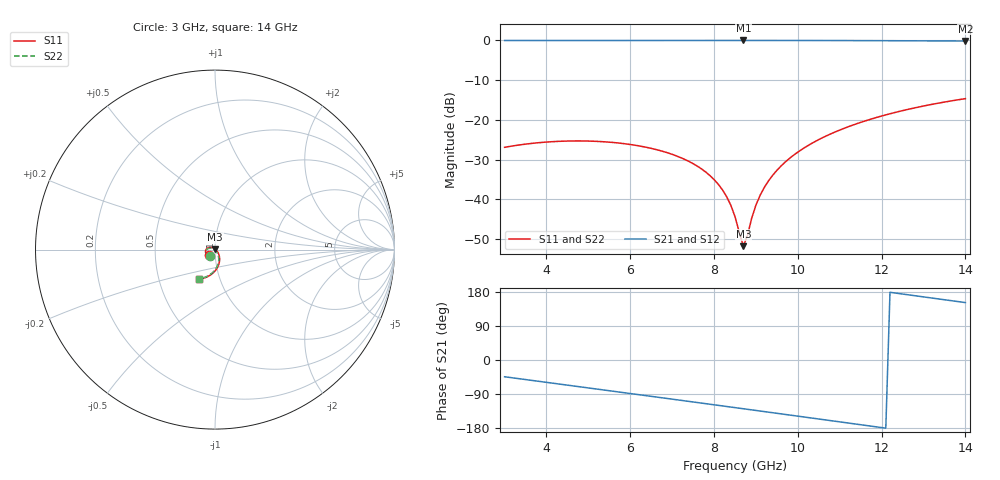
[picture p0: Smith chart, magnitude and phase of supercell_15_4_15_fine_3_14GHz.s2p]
! Touchstone file exported from HFSS 2026.1.0
!  Generated:  01:10:25 PM Aug 20, 2026
!  Design:  HFSSDesign_Supercell_15_4_15
!  Project:  15-4-15_super_cell
!  Setup:  Setup1
!  Solution:  Sweep_16_2_16_fine
! Variables:
!  stub_length = 12.1um
# GHz S MA R 50.000000
! Terminal data exported
! Port[1] = Port1
! Port[2] = Port2
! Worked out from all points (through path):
!   111 points, 3 GHz to 14 GHz, reference 50 ohm
!   highest |S21| = 0.00 dB at 8.7 GHz (marker M1); lowest = -0.2 dB at 14 GHz (marker M2)
!   group delay of S21, straight-line fit = 41.5 ps
!   lowest |S11| = -51.7 dB at 8.7 GHz (marker M3), VSWR 1.01, Z = 50.1 + j0.218 ohm
!   |S11| at or under -10 dB: start of sweep to end of sweep
!   |S22| runs from -51.7 to -14.6 dB; largest |S21 - S12| = 0.00023
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3  0.04529 -136.7  0.999 -44.2  0.999 -44.2  0.04529 -131.8
! Gamma 0 2588.53611777122 9.04066273999306E-32 2601.38380860688
! Port Impedance 50 0 50 0
4  0.05275 -151.2  0.9986 -59.0  0.9986 -59.0  0.05275 -146.8
4.9  0.05443 -164.5  0.9985 -72.3  0.9985 -72.3  0.05443 -160.0
5.9  0.04999 -179.7  0.9987 -87.0  0.9987 -87.0  0.04999 -174.4
6.7  0.04137 167.8  0.9991 -98.9  0.9991 -98.9  0.04137 174.5
7.4  0.03011 156.0  0.9995 -109.3  0.9995 -109.3  0.03011 165.5
7.9  0.02003 146.1  0.9998 -116.7  0.9998 -116.7  0.02003 160.5
8.1  0.01556 140.9  0.9999 -119.7  0.9999 -119.7  0.01556 159.7
8.3  0.01087 133.7  0.9999 -122.7  0.9999 -122.7  0.01087 160.9
8.5  0.006097 119.5  1 -125.7  1 -125.7  0.006097 169.2
8.7  0.002588 57.0  1 -128.7  1 -128.7  0.002588 -134.3
8.8  0.003575 6.0  1 -130.2  1 -130.2  0.003575 -86.4
8.9  0.005861 -15.5  1 -131.7  1 -131.7  0.005861 -67.8
9  0.008506 -25.4  1 -133.2  1 -133.2  0.008506 -60.9
9.1  0.0113 -31.4  0.9999 -134.7  0.9999 -134.7  0.0113 -57.9
9.3  0.01715 -38.9  0.9999 -137.7  0.9999 -137.7  0.01715 -56.4
9.8  0.03282 -50.6  0.9995 -145.2  0.9995 -145.2  0.03282 -59.7
10.4  0.05313 -61.4  0.9986 -154.2  0.9986 -154.2  0.05313 -67.0
11.2  0.08204 -74.5  0.9966 -166.3  0.9966 -166.3  0.08204 -78.0
12.2  0.1197 -90.2  0.9928 178.6  0.9928 178.6  0.1197 -92.5
13.1  0.1534 -104.1  0.9882 165.0  0.9882 165.0  0.1534 -105.8
14  0.1854 -117.9  0.9827 151.5  0.9827 151.5  0.1854 -119.1
